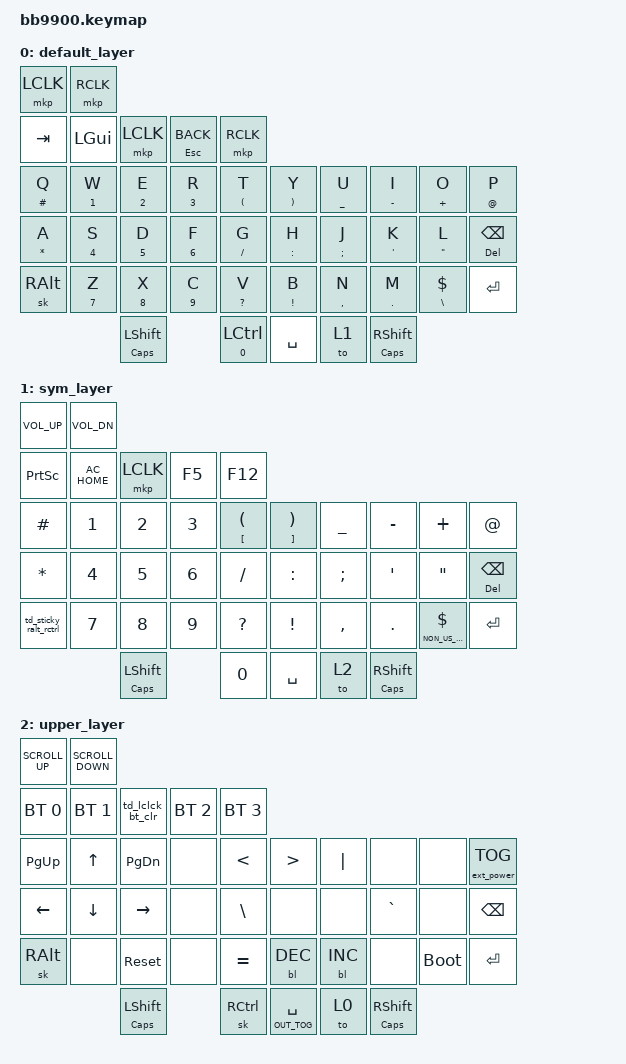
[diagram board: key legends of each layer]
/*
 * Copyright (c) 2023 ZitaoTech
 *
 * SPDX-License-Identifier: MIT
 */

#include <behaviors.dtsi>
#include <dt-bindings/zmk/backlight.h>
#include <dt-bindings/zmk/bt.h>
#include <dt-bindings/zmk/ext_power.h>
#include <dt-bindings/zmk/keys.h>
#include <dt-bindings/zmk/mouse.h>
#include <dt-bindings/zmk/outputs.h>

#define SYM 1
#define UPPER 2

&mt {
    tapping-term-ms = <200>;
    flavor = "balanced";
};

/ {
    behaviors {
        hm_long_hold: homerow_mods {
            compatible = "zmk,behavior-hold-tap";
            #binding-cells = <2>;
            tapping-term-ms = <500>;
            bindings = <&out &kp>;
        };

        td_lclck_bt_clr: td_lclck_bt_clr {
            compatible = "zmk,behavior-tap-dance";
            #binding-cells = <0>;
            tapping-term-ms = <400>;
            bindings = <&mkp LCLK>, <&bt BT_CLR>;

            label = "TD_LCLCK_BT_CLR";
        };

        td_sticky_ralt_rctrl: td_sticky_ralt_rctrl {
            compatible = "zmk,behavior-tap-dance";
            label = "TD_STICKY_RALT_RCTRL";
            #binding-cells = <0>;
            bindings = <&sk RALT>, <&sk RCTRL>;
        };

        sticky_tap_kp_hold: sticky_tap_kp_hold {
            compatible = "zmk,behavior-hold-tap";
            label = "STICKY_TAP_KP_HOLD";
            #binding-cells = <2>;
            bindings = <&kp>, <&sk>;

            tapping-term-ms = <200>;
            flavor = "tap-preferred";
        };
    };

    /*                KEY POSITIONS
    ╭───╮                              ╭───╮
    |sk1|                              |sk2|
  ╭──────────────────────────────────────────╮
  | s/call   bberry   trackpd   back  e/call |
  |  Q   W   E   R   T   Y   U   I   O   P   |
  |  A   S   D   F   G   H   J   K   L   ←   |
  | alt  Z   X   C   V   B   N   M   $  entr |
  ╰────╮ aA  0   ----space----  sym  aA ╭────╯
       ╰────────────────────────────────╯
*/

    keymap {
        compatible = "zmk,keymap";

        default_layer {
            bindings = <
&mkp LCLK      &mkp RCLK
&kp TAB        &kp LGUI   &mkp LCLK                        &mt ESC K_BACK  &mkp RCLK
&mt HASH Q     &mt N1 W   &mt N2 E                         &mt N3 R        &mt LPAR T                    &mt RPAR Y           &mt UNDERSCORE U  &mt MINUS I                      &mt PLUS O            &mt AT P
&mt STAR A     &mt N4 S   &mt N5 D                         &mt N6 F        &mt SLASH G                   &mt COLON H          &mt SEMI J        &mt SINGLE_QUOTE K               &mt DOUBLE_QUOTES L   &mt DEL BACKSPACE
&sk RIGHT_ALT  &mt N7 Z   &mt N8 X                         &mt N9 C        &mt QMARK V                   &mt EXCLAMATION B    &mt COMMA N       &mt DOT M                        &mt BACKSLASH DOLLAR  &kp ENTER
                          &sticky_tap_kp_hold CAPS LSHIFT                  &sticky_tap_kp_hold N0 LCTRL  &kp SPACE            &to 1             &sticky_tap_kp_hold CLCK RSHIFT
            >;
        };

        sym_layer {
            bindings = <
&kp C_VOL_UP           &kp C_VOL_DN
&kp PSCRN              &kp C_AC_HOME  &mkp LCLK                        &kp F5  &kp F12
&kp HASH               &kp N1         &kp N2                           &kp N3  &mt LBKT LPAR  &mt RBKT RPAR    &kp UNDER  &kp MINUS                        &kp PLUS                     &kp AT
&kp STAR               &kp N4         &kp N5                           &kp N6  &kp SLASH      &kp COLON        &kp SEMI   &kp APOS                         &kp DQT                      &mt DELETE BACKSPACE
&td_sticky_ralt_rctrl  &kp N7         &kp N8                           &kp N9  &kp QMARK      &kp EXCL         &kp COMMA  &kp DOT                          &mt NON_US_BACKSLASH DOLLAR  &kp ENTER
                                      &sticky_tap_kp_hold CAPS LSHIFT          &kp N0         &kp SPACE        &to 2      &sticky_tap_kp_hold CAPS RSHIFT
            >;
        };

        upper_layer {
            bindings = <
&kp K_SCROLL_UP  &kp K_SCROLL_DOWN
&bt BT_SEL 0     &bt BT_SEL 1       &td_lclck_bt_clr                 &bt BT_SEL 2  &bt BT_SEL 3
&kp PAGE_UP      &kp UP             &kp PAGE_DOWN                    &none         &kp LT         &kp GT                         &kp PIPE    &none                            &none        &ext_power EP_TOG
&kp LEFT         &kp DOWN           &kp RIGHT                        &none         &kp BACKSLASH  &none                          &none       &kp GRAVE                        &none        &kp BSPC
&sk RALT         &none              &sys_reset                       &none         &kp EQUAL      &bl BL_DEC                     &bl BL_INC  &none                            &bootloader  &kp ENTER
                                    &sticky_tap_kp_hold CAPS LSHIFT                &sk RCTRL      &hm_long_hold OUT_TOG SPACE    &to 0       &sticky_tap_kp_hold CAPS RSHIFT
            >;
        };
    };
};
